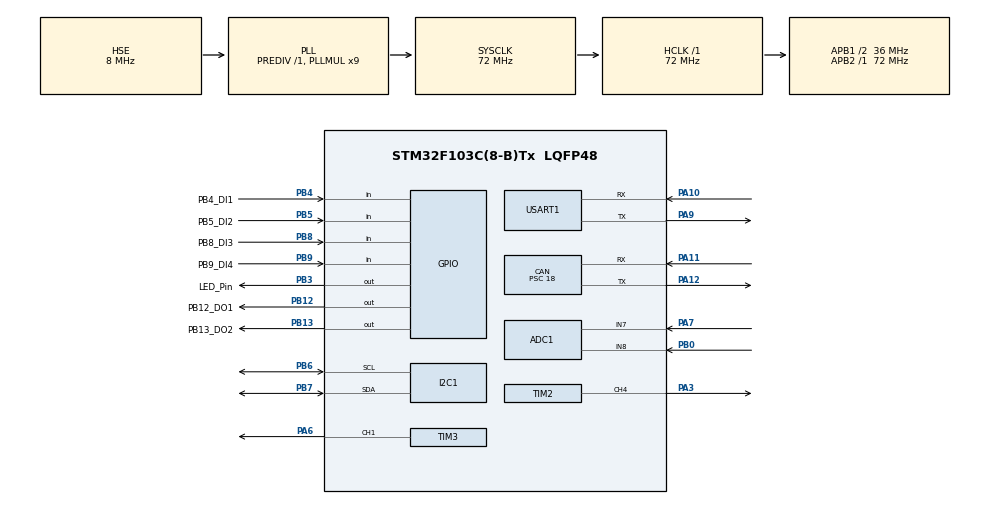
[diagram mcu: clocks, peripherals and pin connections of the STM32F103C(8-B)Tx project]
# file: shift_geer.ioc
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ADC1.Channel-0\#ChannelRegularConversion=ADC_CHANNEL_8
ADC1.Channel-1\#ChannelRegularConversion=ADC_CHANNEL_7
ADC1.ContinuousConvMode=ENABLE
ADC1.NbrOfConversion=2
ADC1.NbrOfConversionFlag=1
ADC1.Rank-0\#ChannelRegularConversion=1
ADC1.Rank-1\#ChannelRegularConversion=2
ADC1.SamplingTime-0\#ChannelRegularConversion=ADC_SAMPLETIME_55CYCLES_5
ADC1.SamplingTime-1\#ChannelRegularConversion=ADC_SAMPLETIME_55CYCLES_5
ADC1.master=1
CAN.BS1=CAN_BS1_3TQ
CAN.BS2=CAN_BS2_4TQ
CAN.CalculateBaudRate=250000
CAN.CalculateTimeBit=4000
CAN.CalculateTimeQuantum=500.0
CAN.Prescaler=18
Dma.ADC1.0.Direction=DMA_PERIPH_TO_MEMORY
Dma.ADC1.0.Instance=DMA1_Channel1
Dma.ADC1.0.MemDataAlignment=DMA_MDATAALIGN_HALFWORD
Dma.ADC1.0.MemInc=DMA_MINC_ENABLE
Dma.ADC1.0.Mode=DMA_CIRCULAR
Dma.ADC1.0.PeriphDataAlignment=DMA_PDATAALIGN_HALFWORD
Dma.ADC1.0.PeriphInc=DMA_PINC_DISABLE
Dma.ADC1.0.Priority=DMA_PRIORITY_VERY_HIGH
Dma.Request0=ADC1
FREERTOS.Tasks01=defaultTask,0,128,StartDefaultTask,Default,NULL,Dynamic,NULL,NULL;MyHeartTask,3,64,Task_MyHeart,Default,NULL,Dynamic,NULL,NULL;CAN_TxTask,2,64,Task_CAN_Tx,Default,NULL,Dynamic,NULL,NULL;ProcessTask,2,64,Task_Process,Default,NULL,Dynamic,NULL,NULL
FREERTOS.configMINIMAL_STACK_SIZE=64
IWDG.Prescaler=IWDG_PRESCALER_64
Mcu.Family=STM32F1
Mcu.Name=STM32F103C(8-B)Tx
Mcu.Package=LQFP48
NVIC.DMA1_Channel1_IRQn=true\:5\:0\:false\:false\:true\:true\:false\:true
NVIC.PriorityGroup=NVIC_PRIORITYGROUP_4
NVIC.TIM1_UP_IRQn=true\:15\:0\:false\:false\:true\:false\:false\:true
NVIC.TimeBase=TIM1_UP_IRQn
NVIC.TimeBaseIP=TIM1
NVIC.USB_LP_CAN1_RX0_IRQn=true\:5\:0\:false\:false\:true\:true\:true\:true
PA10.Mode=Asynchronous
PA10.Signal=USART1_RX
PA11.Mode=CAN_Activate
PA11.Signal=CAN_RX
PA12.Mode=CAN_Activate
PA12.Signal=CAN_TX
PA13.Mode=Serial_Wire
PA13.Signal=SYS_JTMS-SWDIO
PA14.Mode=Serial_Wire
PA14.Signal=SYS_JTCK-SWCLK
PA3.Signal=S_TIM2_CH4
PA6.Signal=S_TIM3_CH1
PA7.Signal=ADCx_IN7
PA9.Mode=Asynchronous
PA9.Signal=USART1_TX
PB0.Signal=ADCx_IN8
PB12.GPIO_Label=PB12_DO1
PB12.Signal=GPIO_Output
PB13.GPIO_Label=PB13_DO2
PB13.Signal=GPIO_Output
PB3.GPIO_Label=LED_Pin
PB3.Signal=GPIO_Output
PB4.GPIO_Label=PB4_DI1
PB4.Signal=GPIO_Input
PB5.GPIO_Label=PB5_DI2
PB5.Signal=GPIO_Input
PB6.Mode=I2C
PB6.Signal=I2C1_SCL
PB7.Mode=I2C
PB7.Signal=I2C1_SDA
PB8.GPIO_Label=PB8_DI3
PB8.Signal=GPIO_Input
PB9.GPIO_Label=PB9_DI4
PB9.Signal=GPIO_Input
PD0-OSC_IN.Mode=HSE-External-Oscillator
PD0-OSC_IN.Signal=RCC_OSC_IN
PD1-OSC_OUT.Mode=HSE-External-Oscillator
PD1-OSC_OUT.Signal=RCC_OSC_OUT
ProjectManager.HeapSize=0x200
ProjectManager.StackSize=0x400
ProjectManager.TargetToolchain=MDK-ARM V5
RCC.ADCPresc=RCC_ADCPCLK2_DIV6
RCC.AHBFreq_Value=72000000
RCC.APB1CLKDivider=RCC_HCLK_DIV2
RCC.APB1Freq_Value=36000000
RCC.APB1TimFreq_Value=72000000
RCC.APB2Freq_Value=72000000
RCC.APB2TimFreq_Value=72000000
RCC.HCLKFreq_Value=72000000
RCC.PLLMUL=RCC_PLL_MUL9
RCC.PLLSourceVirtual=RCC_PLLSOURCE_HSE
RCC.SYSCLKFreq_VALUE=72000000
RCC.SYSCLKSource=RCC_SYSCLKSOURCE_PLLCLK
RCC.USBFreq_Value=72000000
SH.ADCx_IN7.0=ADC1_IN7,IN7
SH.ADCx_IN8.0=ADC1_IN8,IN8
SH.S_TIM2_CH4.0=TIM2_CH4,PWM Generation4 CH4
SH.S_TIM3_CH1.0=TIM3_CH1,PWM Generation1 CH1
TIM2.Channel-PWM\ Generation4\ CH4=TIM_CHANNEL_4
TIM2.Period=1000-1
TIM2.Prescaler=72-1
TIM3.Channel-PWM\ Generation1\ CH1=TIM_CHANNEL_1
TIM3.Period=1000
TIM3.Prescaler=72-1
USART1.VirtualMode=VM_ASYNC
VP_FREERTOS_VS_CMSIS_V1.Mode=CMSIS_V1
VP_IWDG_VS_IWDG.Mode=IWDG_Activate
VP_SYS_VS_tim1.Mode=TIM1
VP_TIM2_VS_ClockSourceINT.Mode=Internal
VP_TIM3_VS_ClockSourceINT.Mode=Internal
board=custom

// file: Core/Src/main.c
/* USER CODE BEGIN Header */
/**
  ******************************************************************************
  * @file           : main.c
  * @brief          : Main program body
  ******************************************************************************
  * @attention
  *
  * Copyright (c) 2022 STMicroelectronics.
  * All rights reserved.
  *
  * This software is licensed under terms that can be found in the LICENSE file
  * in the root directory of this software component.
  * If no LICENSE file comes with this software, it is provided AS-IS.
  *
  ******************************************************************************
  */
/* USER CODE END Header */
#include "main.h"
#include "cmsis_os.h"
#include "adc.h"
#include "can.h"
#include "dma.h"
#include "i2c.h"
#include "iwdg.h"
#include "tim.h"
#include "usart.h"
#include "gpio.h"

/* USER CODE BEGIN PD */
#define softVersion ("V1.00")
/* USER CODE END PD */

void SystemClock_Config(void);
void MX_FREERTOS_Init(void);

int main(void)
{

  /* MCU Configuration--------------------------------------------------------*/

  /* Reset of all peripherals, Initializes the Flash interface and the Systick. */
  HAL_Init();

  /* Configure the system clock */
  SystemClock_Config();

  /* Initialize all configured peripherals */
  MX_GPIO_Init();
  MX_DMA_Init();
  MX_ADC1_Init();
  MX_IWDG_Init();
  MX_CAN_Init();
  MX_I2C1_Init();
  MX_TIM2_Init();
  MX_TIM3_Init();
  MX_USART1_UART_Init();
  /* USER CODE BEGIN 2 */
	printf("\r\n===================================\r\n");
  printf("电子换档四驱控制器 %s  编译时间%s %s\r\n",softVersion,__DATE__,__TIME__);
	CAN_User_Init();
	HAL_ADCEx_Calibration_Start(&hadc1);
	HAL_TIM_PWM_Start(&htim2,TIM_CHANNEL_4);
	HAL_TIM_PWM_Start(&htim3,TIM_CHANNEL_1);
	if(HAL_ADC_Start_DMA(&hadc1, (uint32_t*)&data_collect.ADC1_Val_Buffer, ADC1_CHANNEL_CNT) != HAL_OK)
  {
    Error_Handler();
  }
	HAL_GPIO_WritePin(GPIOB,GPIO_PIN_12,0);
	HAL_GPIO_WritePin(GPIOB,GPIO_PIN_13,0);
	__HAL_TIM_SetCompare(&htim2, TIM_CHANNEL_4, 0);
	__HAL_TIM_SetCompare(&htim3, TIM_CHANNEL_1, 0);
	Default_Data_Init();
	EEPROM_DATA_Init();

  /* USER CODE END 2 */

  /* Call init function for freertos objects (in freertos.c) */
  MX_FREERTOS_Init();
  /* Start scheduler */
  osKernelStart();

  /* We should never get here as control is now taken by the scheduler */
  /* Infinite loop */
  while (1)
  {

  }
}

void SystemClock_Config(void)
{
  RCC_OscInitTypeDef RCC_OscInitStruct = {0};
  RCC_ClkInitTypeDef RCC_ClkInitStruct = {0};
  RCC_PeriphCLKInitTypeDef PeriphClkInit = {0};

  /** Initializes the RCC Oscillators according to the specified parameters
  * in the RCC_OscInitTypeDef structure.
  */
  RCC_OscInitStruct.OscillatorType = RCC_OSCILLATORTYPE_LSI|RCC_OSCILLATORTYPE_HSE;
  RCC_OscInitStruct.HSEState = RCC_HSE_ON;
  RCC_OscInitStruct.HSEPredivValue = RCC_HSE_PREDIV_DIV1;
  RCC_OscInitStruct.HSIState = RCC_HSI_ON;
  RCC_OscInitStruct.LSIState = RCC_LSI_ON;
  RCC_OscInitStruct.PLL.PLLState = RCC_PLL_ON;
  RCC_OscInitStruct.PLL.PLLSource = RCC_PLLSOURCE_HSE;
  RCC_OscInitStruct.PLL.PLLMUL = RCC_PLL_MUL9;
  if (HAL_RCC_OscConfig(&RCC_OscInitStruct) != HAL_OK)
  {
    Error_Handler();
  }
  /** Initializes the CPU, AHB and APB buses clocks
  */
  RCC_ClkInitStruct.ClockType = RCC_CLOCKTYPE_HCLK|RCC_CLOCKTYPE_SYSCLK
                              |RCC_CLOCKTYPE_PCLK1|RCC_CLOCKTYPE_PCLK2;
  RCC_ClkInitStruct.SYSCLKSource = RCC_SYSCLKSOURCE_PLLCLK;
  RCC_ClkInitStruct.AHBCLKDivider = RCC_SYSCLK_DIV1;
  RCC_ClkInitStruct.APB1CLKDivider = RCC_HCLK_DIV2;
  RCC_ClkInitStruct.APB2CLKDivider = RCC_HCLK_DIV1;

  if (HAL_RCC_ClockConfig(&RCC_ClkInitStruct, FLASH_LATENCY_2) != HAL_OK)
  {
    Error_Handler();
  }
  PeriphClkInit.PeriphClockSelection = RCC_PERIPHCLK_ADC;
  PeriphClkInit.AdcClockSelection = RCC_ADCPCLK2_DIV6;
  if (HAL_RCCEx_PeriphCLKConfig(&PeriphClkInit) != HAL_OK)
  {
    Error_Handler();
  }
}

void HAL_TIM_PeriodElapsedCallback(TIM_HandleTypeDef *htim)
{
  if (htim->Instance == TIM1) {
    HAL_IncTick();
  }
}

void Error_Handler(void)
{
  /* USER CODE BEGIN Error_Handler_Debug */
  /* User can add his own implementation to report the HAL error return state */
  printf("[err]Error_Handler\r\n");
	__disable_irq();
  while (1)
  {
  }
  /* USER CODE END Error_Handler_Debug */
}

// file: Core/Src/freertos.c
/* USER CODE BEGIN Header */
/**
  ******************************************************************************
  * File Name          : freertos.c
  * Description        : Code for freertos applications
  ******************************************************************************
  * @attention
  *
  * Copyright (c) 2022 STMicroelectronics.
  * All rights reserved.
  *
  * This software is licensed under terms that can be found in the LICENSE file
  * in the root directory of this software component.
  * If no LICENSE file comes with this software, it is provided AS-IS.
  *
  ******************************************************************************
  */
/* USER CODE END Header */

#include "FreeRTOS.h"
#include "task.h"
#include "main.h"
#include "cmsis_os.h"

/* USER CODE BEGIN Includes */
#include "usart.h"
#include "can.h"
#include "iwdg.h"
#include "i2c.h"
#include "tim.h"
#include "adc.h"
/* USER CODE END Includes */

/* USER CODE BEGIN Variables */
SHIFT_GEER shift_geer;
DATA_COLLECT data_collect;

/* USER CODE END Variables */
osThreadId defaultTaskHandle;
osThreadId MyHeartTaskHandle;
osThreadId CAN_TxTaskHandle;
osThreadId ProcessTaskHandle;

void StartDefaultTask(void const * argument);
void Task_MyHeart(void const * argument);
void Task_CAN_Tx(void const * argument);
void Task_Process(void const * argument);

void MX_FREERTOS_Init(void); /* (MISRA C 2004 rule 8.1) */

/* GetIdleTaskMemory prototype (linked to static allocation support) */
void vApplicationGetIdleTaskMemory( StaticTask_t **ppxIdleTaskTCBBuffer, StackType_t **ppxIdleTaskStackBuffer, uint32_t *pulIdleTaskStackSize );

/* USER CODE BEGIN GET_IDLE_TASK_MEMORY */
static StaticTask_t xIdleTaskTCBBuffer;
static StackType_t xIdleStack[configMINIMAL_STACK_SIZE];

void vApplicationGetIdleTaskMemory( StaticTask_t **ppxIdleTaskTCBBuffer, StackType_t **ppxIdleTaskStackBuffer, uint32_t *pulIdleTaskStackSize )
{
  *ppxIdleTaskTCBBuffer = &xIdleTaskTCBBuffer;
  *ppxIdleTaskStackBuffer = &xIdleStack[0];
  *pulIdleTaskStackSize = configMINIMAL_STACK_SIZE;
  /* place for user code */
}
/* USER CODE END GET_IDLE_TASK_MEMORY */

void MX_FREERTOS_Init(void) {

  /* Create the thread(s) */
  /* definition and creation of defaultTask */
  osThreadDef(defaultTask, StartDefaultTask, osPriorityNormal, 0, 128);
  defaultTaskHandle = osThreadCreate(osThread(defaultTask), NULL);

  /* definition and creation of MyHeartTask */
  osThreadDef(MyHeartTask, Task_MyHeart, osPriorityRealtime, 0, 64);
  MyHeartTaskHandle = osThreadCreate(osThread(MyHeartTask), NULL);

  /* definition and creation of CAN_TxTask */
  osThreadDef(CAN_TxTask, Task_CAN_Tx, osPriorityHigh, 0, 64);
  CAN_TxTaskHandle = osThreadCreate(osThread(CAN_TxTask), NULL);

  /* definition and creation of ProcessTask */
  osThreadDef(ProcessTask, Task_Process, osPriorityHigh, 0, 64);
  ProcessTaskHandle = osThreadCreate(osThread(ProcessTask), NULL);

}

void StartDefaultTask(void const * argument)
{
  /* USER CODE BEGIN StartDefaultTask */
  /* Infinite loop */
  for(;;)
  {
		if (shift_geer.Write_EEPROM_Flag == 1)
		{
			AT24C02_WriteLenByte(Addr_Control_Pressure,shift_geer.Contol_Pressure,2);
			osDelay(10);
			AT24C02_WriteLenByte(Addr_Proportion_Value,shift_geer.Proportion_Value,1);
			osDelay(10);

			printf("shift_geer.Contol_Pressure = %d \r\n", shift_geer.Contol_Pressure);
			printf("shift_geer.Proportion_Value = %d \r\n", shift_geer.Proportion_Value);

			shift_geer.Write_EEPROM_Flag = 0;
		}
    osDelay(200);
  }
  /* USER CODE END StartDefaultTask */
}

void Task_MyHeart(void const * argument)
{
  /* USER CODE BEGIN Task_MyHeart */
//	uint16_t t = 0;
  /* Infinite loop */
  for(;;)
  {

    HAL_IWDG_Refresh(&hiwdg);
		HAL_GPIO_TogglePin(LED_Pin_GPIO_Port,LED_Pin_Pin);
//    printf("LED OK!!  %d \r\n",t++);
    osDelay(500);
  }
  /* USER CODE END Task_MyHeart */
}

void Task_CAN_Tx(void const * argument)
{
  /* USER CODE BEGIN Task_CAN_Tx */
  /* Infinite loop */
  for(;;)
  {
		CAN_Transmit_1();
		osDelay(10);
		CAN_Transmit_2();
    osDelay(200);
  }
  /* USER CODE END Task_CAN_Tx */
}

void Task_Process(void const * argument)
{
  /* USER CODE BEGIN Task_Process */
  /* Infinite loop */
  for(;;)
  {
		Data_Collect();

		ControlLoop();

		Contol_Out();
    osDelay(200);//200ms闭环一次
  }
  /* USER CODE END Task_Process */
}
